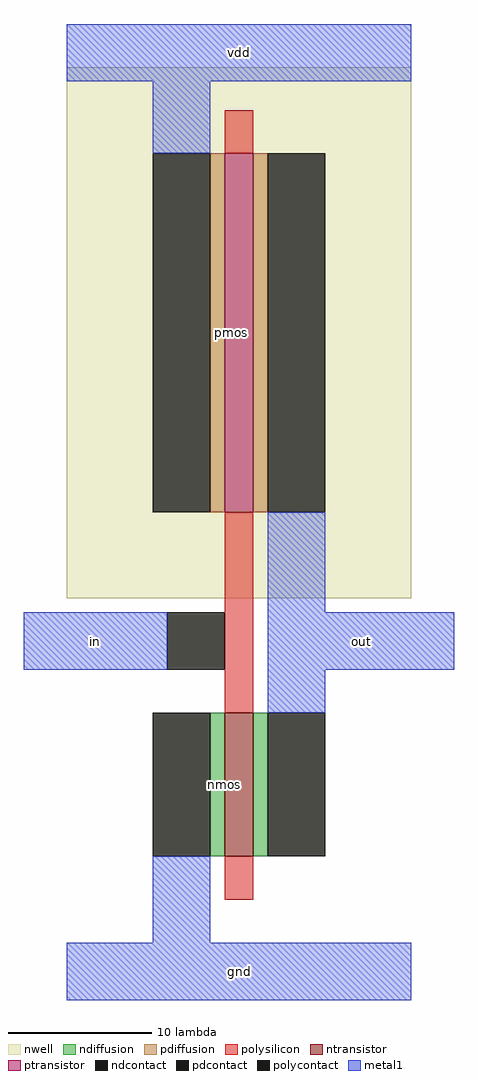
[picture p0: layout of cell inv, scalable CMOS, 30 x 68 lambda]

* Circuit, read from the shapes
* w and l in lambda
.subckt inv gnd in out vdd
M1 out in gnd VSUBS nfet w=10 l=2
M2 out in vdd n1 pfet w=25 l=2
.ends

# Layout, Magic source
magic
tech scmos
<< nwell >>
rect 0 0 24 37
<< ntransistor >>
rect 11 -18 13 -8
<< ptransistor >>
rect 11 6 13 31
<< ndiffusion >>
rect 10 -18 11 -8
rect 13 -18 14 -8
<< pdiffusion >>
rect 10 6 11 31
rect 13 6 14 31
<< ndcontact >>
rect 6 -18 10 -8
rect 14 -18 18 -8
<< pdcontact >>
rect 6 6 10 31
rect 14 6 18 31
<< polysilicon >>
rect 11 31 13 34
rect 11 -8 13 6
rect 11 -21 13 -18
<< polycontact >>
rect 7 -5 11 -1
<< metal1 >>
rect 0 36 24 40
rect 6 31 10 36
rect 14 -1 18 6
rect -3 -5 7 -1
rect 14 -5 27 -1
rect 14 -8 18 -5
rect 6 -24 10 -18
rect 0 -28 24 -24
<< labels >>
flabel metal1 -3 -5 7 -1 7 FreeSans 23 0 0 0 in
flabel metal1 14 -5 27 -1 3 FreeSans 23 0 8 0 out
flabel space -2 5 25 32 3 FreeSans 23 0 52 0 pmos
flabel space 0 -19 22 -7 3 FreeSans 23 0 56 0 nmos
rlabel metal1 0 -28 24 -24 1 gnd
rlabel metal1 0 36 24 40 5 vdd
rlabel space 6 -18 18 -8 1 gnd
<< end >>
